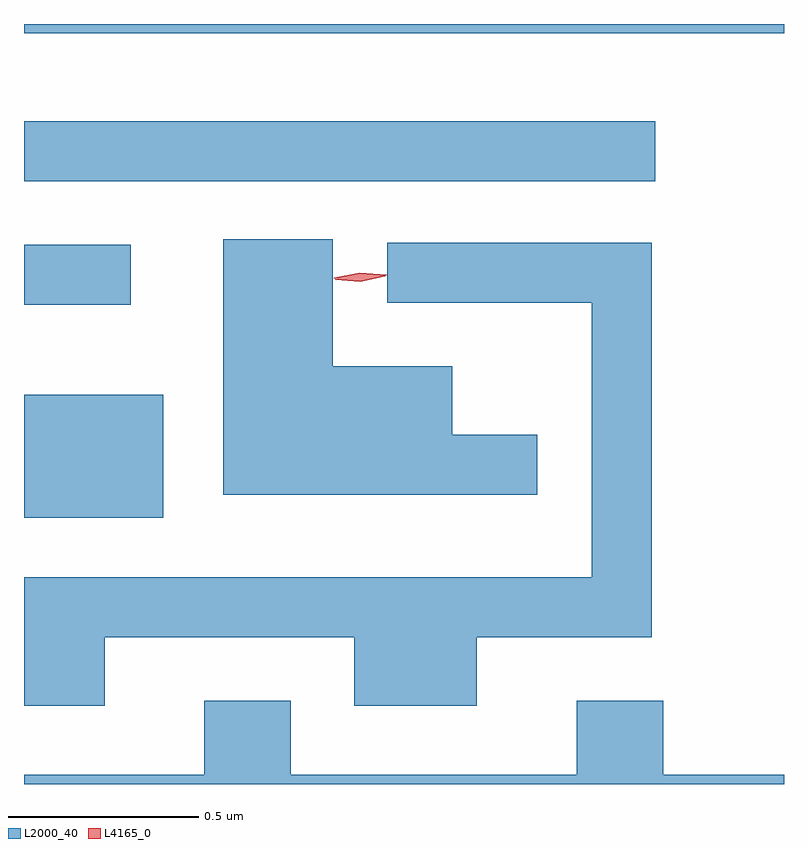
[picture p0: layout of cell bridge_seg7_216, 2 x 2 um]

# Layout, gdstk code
import gdstk
lib = gdstk.Library(unit=1e-6, precision=1e-09)
def R(c, l, rs):  # rectangles x0, y0, x1, y1
    for r in rs: c.add(gdstk.rectangle(r[:2], r[2:], *l))
def P(c, l, *ps):  # polygons
    for p in ps: c.add(gdstk.Polygon(p, *l))
L2000_40 = (2000, 40)
L4165_0 = (4165, 0)

bridge_seg7_216 = lib.new_cell('bridge_seg7_216')
R(bridge_seg7_216, L2000_40, [(1525.677,1695.281,1526.044,1695.604), (1525.677,1695.841,1525.958,1695.999), (1525.677,1696.166,1527.338,1696.324), (1525.677,1696.556,1527.677,1696.58)])
P(bridge_seg7_216, L2000_40, [(1527.028,1695.499),(1526.804,1695.499),(1526.804,1695.679),(1526.489,1695.679),(1526.489,1696.014),(1526.201,1696.014),(1526.201,1695.341),(1527.028,1695.341)],
  [(1525.889,1694.966),(1526.546,1694.966),(1526.546,1694.786),(1526.869,1694.786),(1526.869,1694.966),(1527.329,1694.966),(1527.329,1696.004),(1526.633,1696.004),(1526.633,1695.846),(1527.171,1695.846),(1527.171,1695.124),(1525.677,1695.124),(1525.677,1694.786),(1525.889,1694.786)],
  [(1527.677,1694.604),(1527.359,1694.604),(1527.359,1694.799),(1527.131,1694.799),(1527.131,1694.604),(1526.379,1694.604),(1526.379,1694.799),(1526.151,1694.799),(1526.151,1694.604),(1525.677,1694.604),(1525.677,1694.58),(1527.677,1694.58)])
P(bridge_seg7_216, L4165_0, [(1526.562,1695.906),(1526.493,1695.911),(1526.492,1695.911),(1526.493,1695.912),(1526.561,1695.925),(1526.63,1695.92),(1526.631,1695.92),(1526.63,1695.919)],
  [(1526.562,1695.902),(1526.496,1695.907),(1526.496,1695.908),(1526.496,1695.908),(1526.561,1695.922),(1526.627,1695.917),(1526.628,1695.917),(1526.627,1695.916)])

lib.write_gds('bridge_seg7_216.gds')
